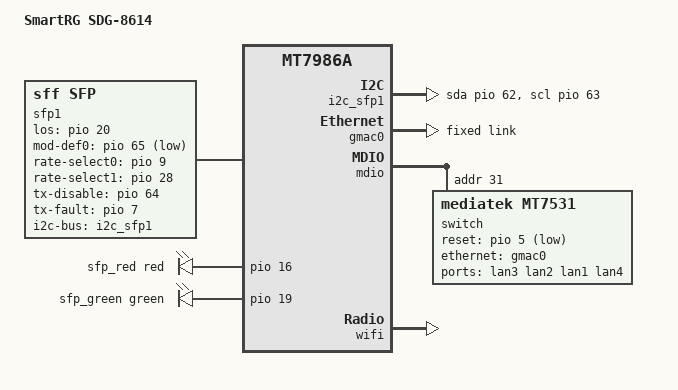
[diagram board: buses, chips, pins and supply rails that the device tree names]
// SPDX-License-Identifier: (GPL-2.0 OR MIT)
/*
 * Copyright (C) 2022 SmartRG Inc.
 * Author: Chad Monroe <chad.monroe@smartrg.com>
 */

#include "mt7986a-smartrg-bonanza-peak.dtsi"

/ {
	model = "SmartRG SDG-8614";
	compatible = "smartrg,sdg-8614", "mediatek,mt7986a";

	/* SFP1 cage (WAN) */
	i2c_sfp1: i2c-gpio-0 {
		compatible = "i2c-gpio";
		sda-gpios = <&pio 62 (GPIO_ACTIVE_HIGH | GPIO_OPEN_DRAIN)>;
		scl-gpios = <&pio 63 (GPIO_ACTIVE_HIGH | GPIO_OPEN_DRAIN)>;
		i2c-gpio,delay-us = <2>;
		#address-cells = <1>;
		#size-cells = <0>;
	};

	sfp1: sfp1 {
		compatible = "sff,sfp";
		i2c-bus = <&i2c_sfp1>;
		los-gpios = <&pio 20 GPIO_ACTIVE_HIGH>;
		mod-def0-gpios = <&pio 65 GPIO_ACTIVE_LOW>;
		rate-select0-gpios = <&pio 9 GPIO_ACTIVE_HIGH>;
		rate-select1-gpios = <&pio 28 GPIO_ACTIVE_HIGH>;
		tx-disable-gpios = <&pio 64 GPIO_ACTIVE_HIGH>;
		tx-fault-gpios = <&pio 7 GPIO_ACTIVE_HIGH>;
		maximum-power-milliwatt = <3000>;
	};

	leds {
		compatible = "gpio-leds";

		sfp_red {
			color = <LED_COLOR_ID_RED>;
			function = "sfp";
			function-enumerator = <1>;
			gpios = <&pio 16 GPIO_ACTIVE_HIGH>;
			default-state = "off";
		};

		sfp_green {
			color = <LED_COLOR_ID_GREEN>;
			function = "sfp";
			function-enumerator = <0>;
			gpios = <&pio 19 GPIO_ACTIVE_HIGH>;
			default-state = "off";
		};
	};
};

&mux_sel {
	output-low;
	/delete-node/ output-high;
};

&gmac0 {
	fixed-link {
		speed = <2500>;
		full-duplex;
		pause;
	};
};

&gmac1 {
	sfp = <&sfp1>;
	managed = "in-band-status";
};

&mdio {
	switch: switch@1f {
		compatible = "mediatek,mt7531";
		reg = <31>;
		reset-gpios = <&pio 5 GPIO_ACTIVE_LOW>;

		ports {
			#address-cells = <1>;
			#size-cells = <0>;

			port@1 {
				reg = <1>;
				label = "lan3";
			};

			port@2 {
				reg = <2>;
				label = "lan2";
			};

			port@3 {
				reg = <3>;
				label = "lan1";
			};

			port5: port@5 {
				reg = <5>;
				label = "lan4";

				phy-mode = "2500base-x";
				phy-handle = <&phy5>;
			};

			port@6 {
				reg = <6>;
				ethernet = <&gmac0>;
				phy-mode = "2500base-x";

				fixed-link {
					speed = <2500>;
					full-duplex;
					pause;
				};
			};
		};
	};
};

&wifi {
	ieee80211-freq-limit = <2400000 2500000>, <5170000 5835000>;
};
